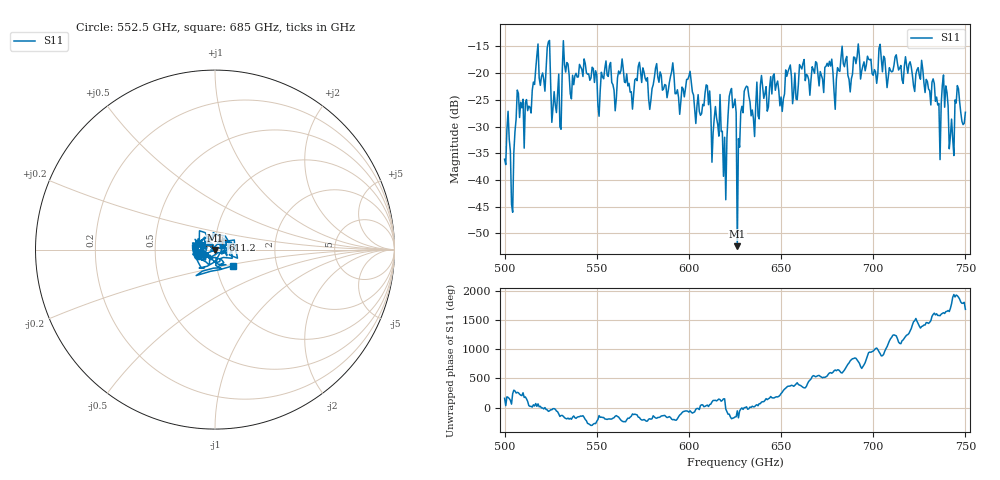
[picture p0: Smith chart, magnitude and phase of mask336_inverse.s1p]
!Created with skrf (http://scikit-rf.org).
# GHz S MA R 50.0
!freq magS11 angS11
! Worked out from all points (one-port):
!   401 points, 500 GHz to 750 GHz, reference 50 ohm
!   lowest |S11| = -52.4 dB at 626.2 GHz (marker M1), VSWR 1.00, Z = 50.1 - j0.196 ohm
!   |S11| at or under -10 dB: start of sweep to end of sweep
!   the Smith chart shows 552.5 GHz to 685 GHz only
!   S11 on the Smith chart (normalised r, x): 552.5 GHz: 0.82, -0.05; 611.2 GHz: 1.08, +0.12; 685 GHz: 1.19, -0.22
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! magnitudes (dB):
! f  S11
! 500 GHz  -36.1
! 504.4 GHz  -46.0
! 507.5 GHz  -23.8
! 511.9 GHz  -24.9
! 516.9 GHz  -19.3
! 523.8 GHz  -14.1
! 526.9 GHz  -23.5
! 531.2 GHz  -19.8
! 533.1 GHz  -19.8
! 552.5 GHz  -19.8
! 562.5 GHz  -20.1
! 593.8 GHz  -23.1
! 611.2 GHz  -23.3
! 619.4 GHz  -32.0
! 623.8 GHz  -26.5
! 625 GHz  -24.8
! 626.2 GHz  -52.4
! 631.2 GHz  -22.4
! 635 GHz  -28.5
! 656.2 GHz  -25.7
! 685 GHz  -17.5
! 687.5 GHz  -23.5
! 718.8 GHz  -20.0
! 735 GHz  -26.0
! 738.8 GHz  -26.4
! 742.5 GHz  -28.6
! 745.6 GHz  -22.3
! 750 GHz  -27.3
